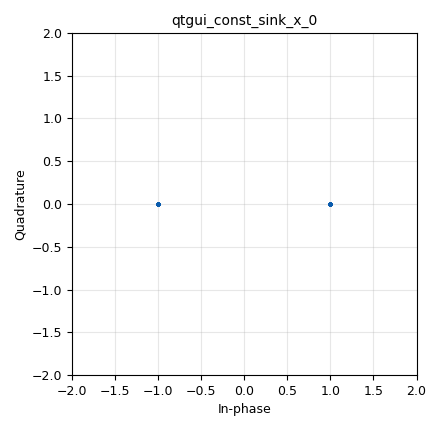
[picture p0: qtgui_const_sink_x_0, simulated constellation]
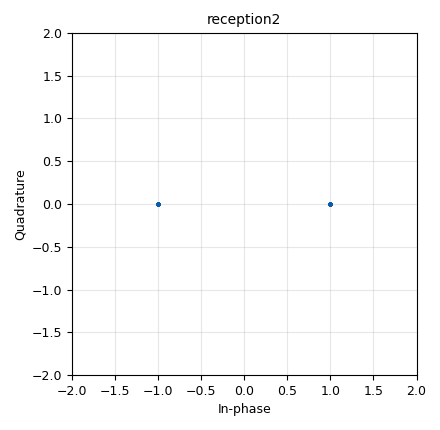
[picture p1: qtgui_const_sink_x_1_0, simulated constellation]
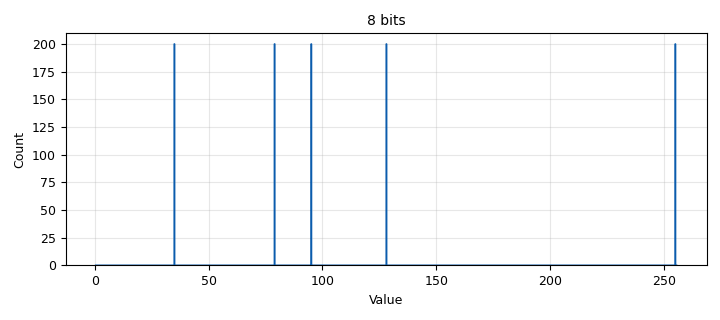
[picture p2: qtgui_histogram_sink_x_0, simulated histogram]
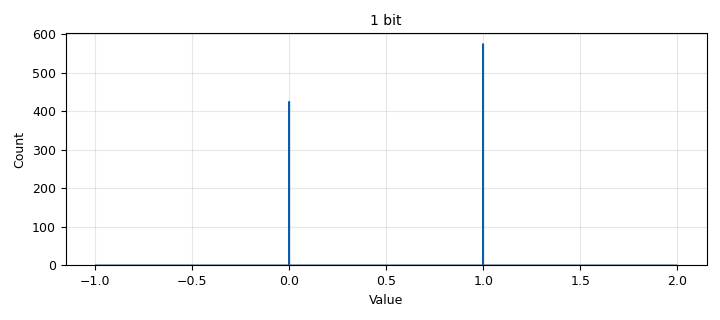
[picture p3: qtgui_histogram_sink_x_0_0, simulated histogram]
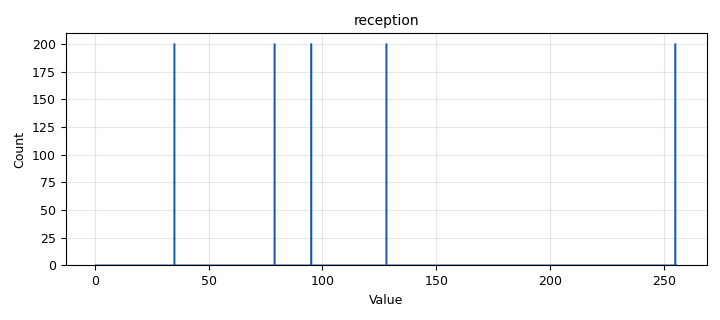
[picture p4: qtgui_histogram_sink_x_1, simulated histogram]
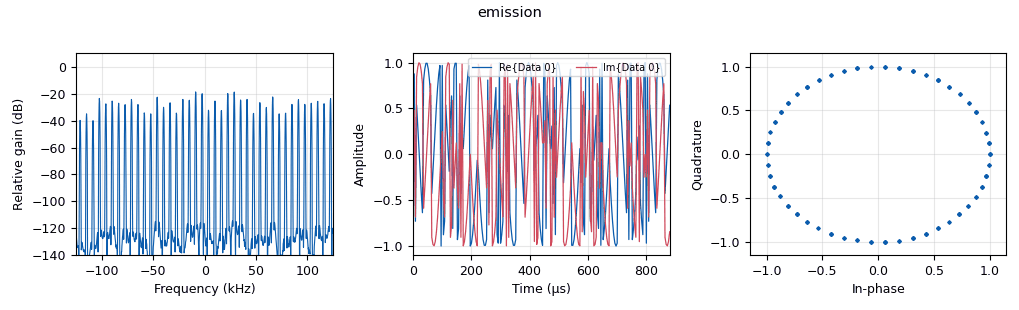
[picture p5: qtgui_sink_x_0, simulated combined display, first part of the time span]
options:
  parameters:
    generate_options: qt_gui
    generator_class_name: PythonQtGuiGenerator
    generator_module: gnuradio.grc.workflows.python_qt_gui
    id: bpsk
    output_language: python
    title: ask
  states: {}

blocks:
- name: center_freq
  id: variable
  parameters:
    value: 100*10**6
  states: {state: disabled}
- name: center_freq
  id: variable_qtgui_range
  parameters:
    start: 100*10**6
    step: 1*10**6
    stop: 5*10**9
    value: 100*10**6
  states: {state: disabled}
- name: data_rate
  id: variable
  parameters:
    value: '250000'
  states: {}
- name: porteuse
  id: variable
  parameters:
    value: 5*10**9
  states: {}
- name: samp_rate
  id: variable
  parameters:
    value: '250000'
  states: {}
- name: analog_sig_source_x_0
  id: analog_sig_source_x
  parameters:
    amp: '1'
    comment: |-
      for f in range(f_start, f_stop, f_step):
          usrp_sink.set_center_freq(f)
          usrp_source.set_center_freq(f)
          sleep(0.05)  # temps de stabilisation
          measure_amplitude_phase()
          save_result(f)
    freq: '10000'
    offset: '0'
    phase: '0'
    samp_rate: samp_rate
    type: complex
    waveform: analog.GR_COS_WAVE
  states: {}
- name: blocks_add_const_vxx_0
  id: blocks_add_const_vxx
  parameters:
    const: '1'
    type: float
  states: {state: disabled}
- name: blocks_add_const_vxx_1
  id: blocks_add_const_vxx
  parameters:
    const: '1'
    type: float
  states: {}
- name: blocks_complex_to_mag_0
  id: blocks_complex_to_mag
  parameters: {}
  states: {state: disabled}
- name: blocks_complex_to_real_0
  id: blocks_complex_to_real
  parameters: {}
  states: {}
- name: blocks_float_to_char_0
  id: blocks_float_to_char
  parameters:
    scale: '1'
  states: {}
- name: blocks_float_to_complex_0
  id: blocks_float_to_complex
  parameters: {}
  states: {}
- name: blocks_keep_one_in_n_0
  id: blocks_keep_one_in_n
  parameters:
    type: float
  states: {state: disabled}
- name: blocks_multiply_const_vxx_0
  id: blocks_multiply_const_vxx
  parameters:
    const: '0.5'
    mode: vector
    type: float
  states: {}
- name: blocks_multiply_xx_0
  id: blocks_multiply_xx
  parameters:
    type: complex
  states: {}
- name: blocks_null_source_0
  id: blocks_null_source
  parameters:
    type: float
  states: {}
- name: blocks_pack_k_bits_bb_0
  id: blocks_pack_k_bits_bb
  parameters:
    k: '8'
  states: {}
- name: blocks_repeat_0
  id: blocks_repeat
  parameters:
    interp: '1'
    type: float
  states: {}
- name: blocks_threshold_ff_0
  id: blocks_threshold_ff
  parameters:
    high: '0.5'
    init: '0'
    low: '0.5'
  states: {state: disabled}
- name: blocks_throttle2_0
  id: blocks_throttle2
  parameters:
    samples_per_second: data_rate
    type: byte
  states: {}
- name: blocks_uchar_to_float_0
  id: blocks_uchar_to_float
  parameters: {}
  states: {}
- name: blocks_uchar_to_float_1
  id: blocks_uchar_to_float
  parameters: {}
  states: {}
- name: blocks_uchar_to_float_2
  id: blocks_uchar_to_float
  parameters: {}
  states: {}
- name: blocks_unpack_k_bits_bb_0
  id: blocks_unpack_k_bits_bb
  parameters:
    k: '8'
  states: {}
- name: blocks_vector_source_x_0
  id: blocks_vector_source_x
  parameters:
    repeat: 'True'
    type: byte
    vector: (79, 35, 95, 128,0xff)
  states: {}
- name: digital_chunks_to_symbols_xx_0
  id: digital_chunks_to_symbols_xx
  parameters:
    dimension: '1'
    in_type: byte
    out_type: float
    symbol_table: (-1,1)
  states: {}
- name: digital_costas_loop_cc_0
  id: digital_costas_loop_cc
  parameters:
    order: '2'
    w: '0.03'
  states: {}
- name: digital_costas_loop_cc_1
  id: digital_costas_loop_cc
  parameters:
    order: '2'
    w: '0.4'
  states: {state: disabled}
- name: qtgui_const_sink_x_0
  id: qtgui_const_sink_x
  parameters:
    size: '1024'
    type: complex
  states: {}
- name: qtgui_const_sink_x_1_0
  id: qtgui_const_sink_x
  parameters:
    name: '"reception2"'
    size: '1024'
    type: complex
  states: {}
- name: qtgui_histogram_sink_x_0
  id: qtgui_histogram_sink_x
  parameters:
    bins: '1000'
    name: '"8 bits"'
    size: '1000'
    type: float
    xmax: '256'
    xmin: '0'
  states: {}
- name: qtgui_histogram_sink_x_0_0
  id: qtgui_histogram_sink_x
  parameters:
    bins: '1000'
    name: 1 bit
    size: '1000'
    type: float
    xmax: '2'
    xmin: '-1'
  states: {}
- name: qtgui_histogram_sink_x_1
  id: qtgui_histogram_sink_x
  parameters:
    bins: '1000'
    name: '"reception"'
    size: '1000'
    type: float
    xmax: '256'
    xmin: '0'
  states: {}
- name: qtgui_sink_x_0
  id: qtgui_sink_x
  parameters:
    bw: samp_rate
    fc: '0'
    fftsize: '1024'
    gui_hint: (1,0)
    name: emission
    type: complex
  states: {}
- name: qtgui_sink_x_1
  id: qtgui_sink_x
  parameters:
    bw: samp_rate
    fc: '0'
    fftsize: '1024'
    gui_hint: (0,0)
    name: '"reception"'
    type: complex
  states: {state: disabled}
- name: uhd_usrp_sink_0
  id: uhd_usrp_sink
  parameters:
    ant0: '"TX/RX"'
    bw0: samp_rate
    center_freq0: porteuse
    dev_addr: '"serial=322F67E"'
    gain0: '-10'
    samp_rate: samp_rate
    sync: sync
    type: fc32
  states: {state: disabled}
- name: uhd_usrp_source_1
  id: uhd_usrp_source
  parameters:
    ant0: '"RX2"'
    bw0: samp_rate
    center_freq0: porteuse
    dev_addr: '"serial=322F67E"'
    rx_agc0: Enabled
    samp_rate: samp_rate
    sync: sync
    type: fc32
  states: {state: disabled}

connections:
- [analog_sig_source_x_0, '0', blocks_multiply_xx_0, '0']
- [blocks_add_const_vxx_0, '0', blocks_float_to_complex_0, '0']
- [blocks_add_const_vxx_0, '0', blocks_float_to_complex_0, '1']
- [blocks_add_const_vxx_1, '0', blocks_multiply_const_vxx_0, '0']
- [blocks_complex_to_mag_0, '0', blocks_threshold_ff_0, '0']
- [blocks_complex_to_real_0, '0', blocks_add_const_vxx_1, '0']
- [blocks_float_to_char_0, '0', blocks_pack_k_bits_bb_0, '0']
- [blocks_float_to_complex_0, '0', blocks_multiply_xx_0, '1']
- [blocks_float_to_complex_0, '0', qtgui_const_sink_x_0, '0']
- [blocks_keep_one_in_n_0, '0', blocks_float_to_char_0, '0']
- [blocks_multiply_const_vxx_0, '0', blocks_float_to_char_0, '0']
- [blocks_multiply_xx_0, '0', digital_costas_loop_cc_0, '0']
- [blocks_multiply_xx_0, '0', qtgui_sink_x_0, '0']
- [blocks_multiply_xx_0, '0', qtgui_sink_x_1, '0']
- [blocks_multiply_xx_0, '0', uhd_usrp_sink_0, '0']
- [blocks_null_source_0, '0', blocks_float_to_complex_0, '1']
- [blocks_pack_k_bits_bb_0, '0', blocks_uchar_to_float_2, '0']
- [blocks_repeat_0, '0', blocks_float_to_complex_0, '0']
- [blocks_threshold_ff_0, '0', blocks_keep_one_in_n_0, '0']
- [blocks_throttle2_0, '0', blocks_uchar_to_float_1, '0']
- [blocks_throttle2_0, '0', blocks_unpack_k_bits_bb_0, '0']
- [blocks_uchar_to_float_0, '0', blocks_add_const_vxx_0, '0']
- [blocks_uchar_to_float_0, '0', qtgui_histogram_sink_x_0_0, '0']
- [blocks_uchar_to_float_1, '0', qtgui_histogram_sink_x_0, '0']
- [blocks_uchar_to_float_2, '0', qtgui_histogram_sink_x_1, '0']
- [blocks_unpack_k_bits_bb_0, '0', blocks_uchar_to_float_0, '0']
- [blocks_unpack_k_bits_bb_0, '0', digital_chunks_to_symbols_xx_0, '0']
- [blocks_vector_source_x_0, '0', blocks_throttle2_0, '0']
- [digital_chunks_to_symbols_xx_0, '0', blocks_repeat_0, '0']
- [digital_costas_loop_cc_0, '0', blocks_complex_to_mag_0, '0']
- [digital_costas_loop_cc_0, '0', blocks_complex_to_real_0, '0']
- [digital_costas_loop_cc_0, '0', qtgui_const_sink_x_1_0, '0']
- [digital_costas_loop_cc_1, '0', blocks_complex_to_real_0, '0']
- [digital_costas_loop_cc_1, '0', qtgui_const_sink_x_1_0, '0']
- [uhd_usrp_source_1, '0', blocks_complex_to_mag_0, '0']
- [uhd_usrp_source_1, '0', digital_costas_loop_cc_1, '0']
- [uhd_usrp_source_1, '0', qtgui_sink_x_1, '0']

metadata:
  file_format: 1
  grc_version: v3.11.0.0git-1029-g3c48f5e2
